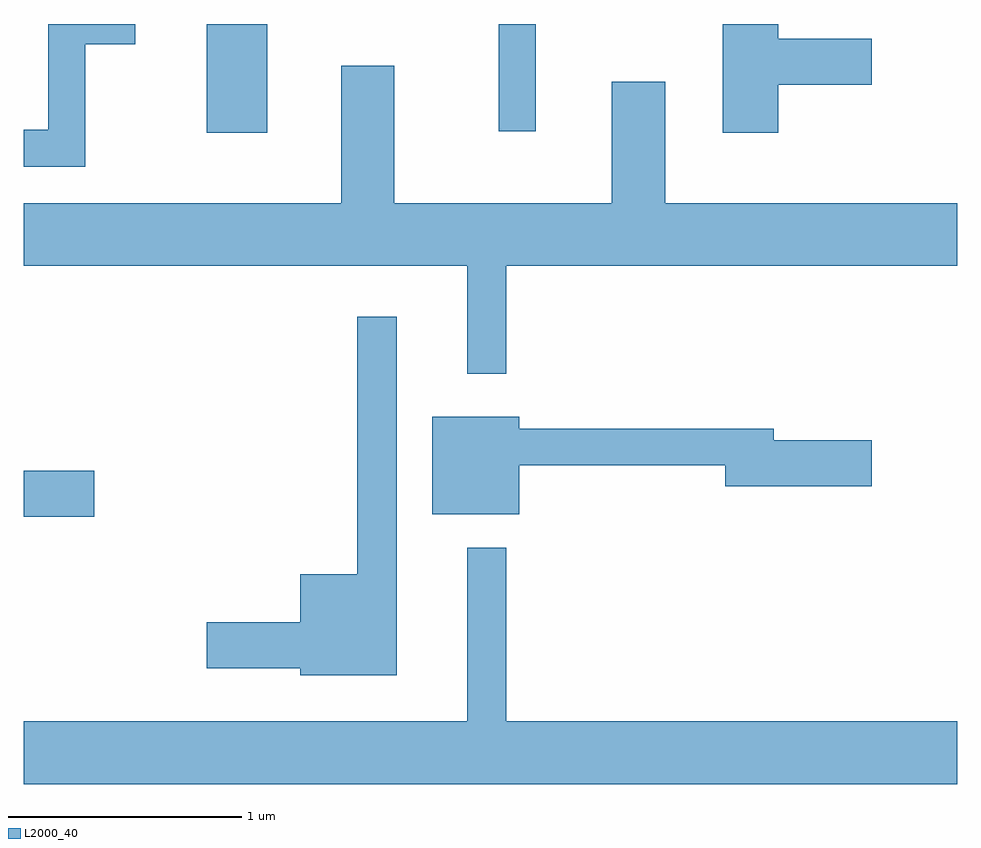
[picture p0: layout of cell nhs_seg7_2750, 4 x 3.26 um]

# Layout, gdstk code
import gdstk
lib = gdstk.Library(unit=1e-6, precision=1e-09)
def R(c, l, rs):  # rectangles x0, y0, x1, y1
    for r in rs: c.add(gdstk.rectangle(r[:2], r[2:], *l))
def P(c, l, *ps):  # polygons
    for p in ps: c.add(gdstk.Polygon(p, *l))
L2000_40 = (2000, 40)

nhs_seg7_2750 = lib.new_cell('nhs_seg7_2750')
R(nhs_seg7_2750, L2000_40, [(269.611,1702.141,269.914,1702.339), (270.396,1703.786,270.654,1704.252), (271.646,1703.793,271.804,1704.252)])
P(nhs_seg7_2750, L2000_40, [(269.874,1704.166),(270.089,1704.166),(270.089,1704.252),(269.716,1704.252),(269.716,1703.799),(269.611,1703.799),(269.611,1703.641),(269.874,1703.641)],
  [(272.844,1703.991),(273.244,1703.991),(273.244,1704.189),(272.844,1704.189),(272.844,1704.252),(272.606,1704.252),(272.606,1703.786),(272.844,1703.786)],
  [(271.679,1703.216),(273.611,1703.216),(273.611,1703.484),(272.359,1703.484),(272.359,1704.004),(272.131,1704.004),(272.131,1703.484),(271.199,1703.484),(271.199,1704.074),(270.971,1704.074),(270.971,1703.484),(269.611,1703.484),(269.611,1703.216),(271.511,1703.216),(271.511,1702.753),(271.679,1702.753)],
  [(271.209,1702.998),(271.041,1702.998),(271.041,1701.894),(270.796,1701.894),(270.796,1701.689),(270.396,1701.689),(270.396,1701.491),(270.796,1701.491),(270.796,1701.461),(271.209,1701.461)],
  [(271.734,1702.361),(272.616,1702.361),(272.616,1702.271),(273.244,1702.271),(273.244,1702.469),(272.824,1702.469),(272.824,1702.519),(271.734,1702.519),(271.734,1702.569),(271.361,1702.569),(271.361,1702.151),(271.734,1702.151)],
  [(273.611,1701.264),(271.679,1701.264),(271.679,1702.008),(271.511,1702.008),(271.511,1701.264),(269.611,1701.264),(269.611,1700.996),(273.611,1700.996)])

lib.write_gds('nhs_seg7_2750.gds')
